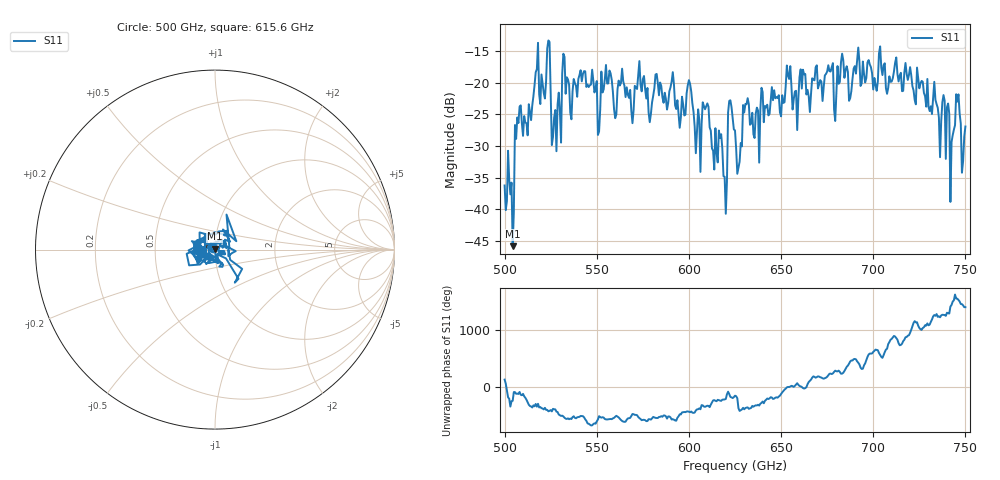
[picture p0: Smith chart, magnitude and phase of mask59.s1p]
!Created with skrf (http://scikit-rf.org).
# GHz S MA R 50.0
!freq magS11 angS11
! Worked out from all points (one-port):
!   401 points, 500 GHz to 750 GHz, reference 50 ohm
!   lowest |S11| = -45.8 dB at 504.4 GHz (marker M1), VSWR 1.01, Z = 49.7 + j0.429 ohm
!   |S11| at or under -10 dB: start of sweep to end of sweep
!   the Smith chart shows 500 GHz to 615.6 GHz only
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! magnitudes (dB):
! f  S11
! 500 GHz  -36.2
! 504.4 GHz  -45.8
! 506.9 GHz  -25.5
! 513.1 GHz  -23.4
! 516.9 GHz  -18.4
! 523.8 GHz  -13.4
! 526.9 GHz  -25.5
! 531.2 GHz  -18.6
! 542.5 GHz  -18.6
! 550.6 GHz  -28.3
! 562.5 GHz  -20.5
! 590.6 GHz  -19.9
! 593.8 GHz  -22.8
! 600 GHz  -19.6
! 605 GHz  -24.2
! 609.4 GHz  -23.7
! 619.4 GHz  -34.8
! 622.5 GHz  -22.8
! 625 GHz  -27.5
! 627.5 GHz  -32.5
! 630.6 GHz  -23.4
! 636.9 GHz  -24.0
! 656.2 GHz  -24.2
! 687.5 GHz  -22.5
! 718.8 GHz  -19.6
! 743.1 GHz  -28.3
! 745.6 GHz  -23.0
! 750 GHz  -26.9
